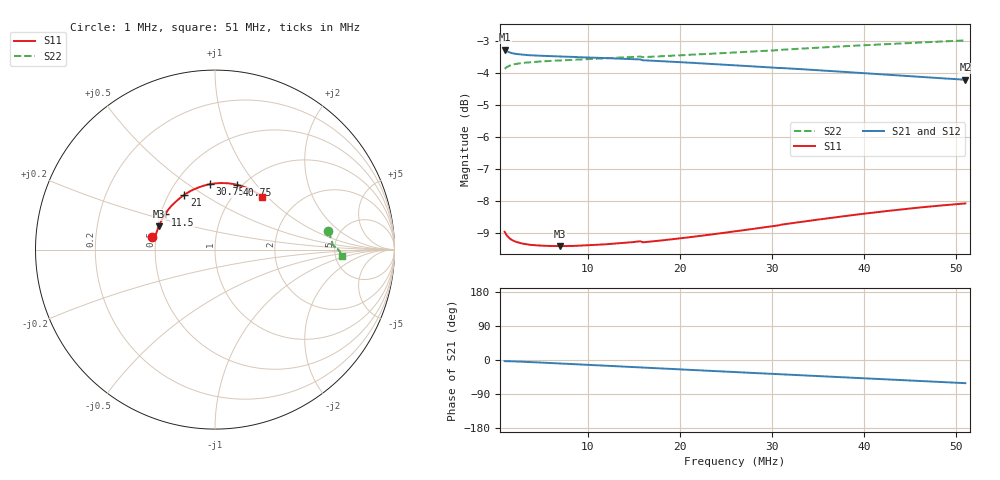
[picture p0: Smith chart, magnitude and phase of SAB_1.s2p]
# MHz S RI R 50
! S-Parameters data
! Freq  reS11  imS11  reS21  imS21  reS12  imS12  reS22  imS22
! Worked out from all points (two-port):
!   201 points, 1 MHz to 51 MHz, reference 50 ohm
!   highest |S21| = -3.28 dB at 1 MHz (marker M1); lowest = -4.2 dB at 51 MHz (marker M2)
!   |S21| within 3 dB of the highest: start of sweep to end of sweep
!   lowest |S11| = -9.4 dB at 7 MHz (marker M3), VSWR 2.02, Z = 25.4 + j7.51 ohm
!   |S11| at or under -10 dB: nowhere
!   |S22| runs from -3.9 to -3.0 dB; largest |S21 - S12| = 0.0012
!   S11 on the Smith chart (normalised r, x): 1 MHz: 0.48, +0.08; 11.5 MHz: 0.53, +0.23; 21 MHz: 0.60, +0.42; 30.75 MHz: 0.73, +0.61; 40.75 MHz: 0.95, +0.80; 51 MHz: 1.34, +0.94
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1  -0.35 0.0687  0.6844 -0.0358  0.685 -0.0357  0.6315 0.1024
1.25  -0.3458 0.0649  0.6803 -0.0369  0.681 -0.0369  0.6383 0.085
1.75  -0.3408 0.0637  0.6759 -0.0403  0.6766 -0.0404  0.6456 0.0641
2.25  -0.3376 0.0665  0.6733 -0.0453  0.6742 -0.0453  0.6491 0.0518
2.75  -0.335 0.0713  0.6715 -0.0509  0.6724 -0.0509  0.6513 0.044
4.25  -0.3278 0.0904  0.6676 -0.0696  0.6684 -0.0697  0.6551 0.0314
7  -0.3126 0.1307  0.6601 -0.1063  0.6609 -0.1064  0.6588 0.0226
9.5  -0.2953 0.1676  0.6519 -0.14  0.6527 -0.1402  0.6616 0.0191
11.5  -0.2789 0.1961  0.6441 -0.167  0.6447 -0.1669  0.6637 0.0174
15.5  -0.2392 0.248  0.6248 -0.2184  0.6252 -0.2187  0.668 0.0152
17.75  -0.2129 0.2722  0.61 -0.2462  0.6106 -0.2455  0.6689 0.0138
21  -0.1716 0.3048  0.5886 -0.2854  0.5891 -0.285  0.6726 0.0114
23.5  -0.1373 0.3257  0.5703 -0.3144  0.5707 -0.3138  0.6754 0.00934
26  -0.1012 0.3426  0.5504 -0.3418  0.551 -0.3413  0.6785 0.00732
28.25  -0.0677 0.3546  0.5315 -0.3654  0.5321 -0.3651  0.6812 0.00497
30.75  -0.0295 0.3639  0.5093 -0.3904  0.5099 -0.39  0.6841 0.00226
34.5  0.0291 0.3708  0.4741 -0.4259  0.4747 -0.4252  0.6895 -0.00308
37.75  0.0792 0.3687  0.4417 -0.4532  0.4423 -0.4526  0.6935 -0.00815
40.75  0.1245 0.3608  0.4106 -0.4763  0.4111 -0.4756  0.697 -0.0133
42.75  0.1538 0.3525  0.3891 -0.4905  0.3898 -0.4898  0.6993 -0.0172
47  0.2129 0.3273  0.3424 -0.5174  0.343 -0.5167  0.7038 -0.0262
51  0.2632 0.2944  0.2969 -0.5388  0.2976 -0.5379  0.7074 -0.0358
